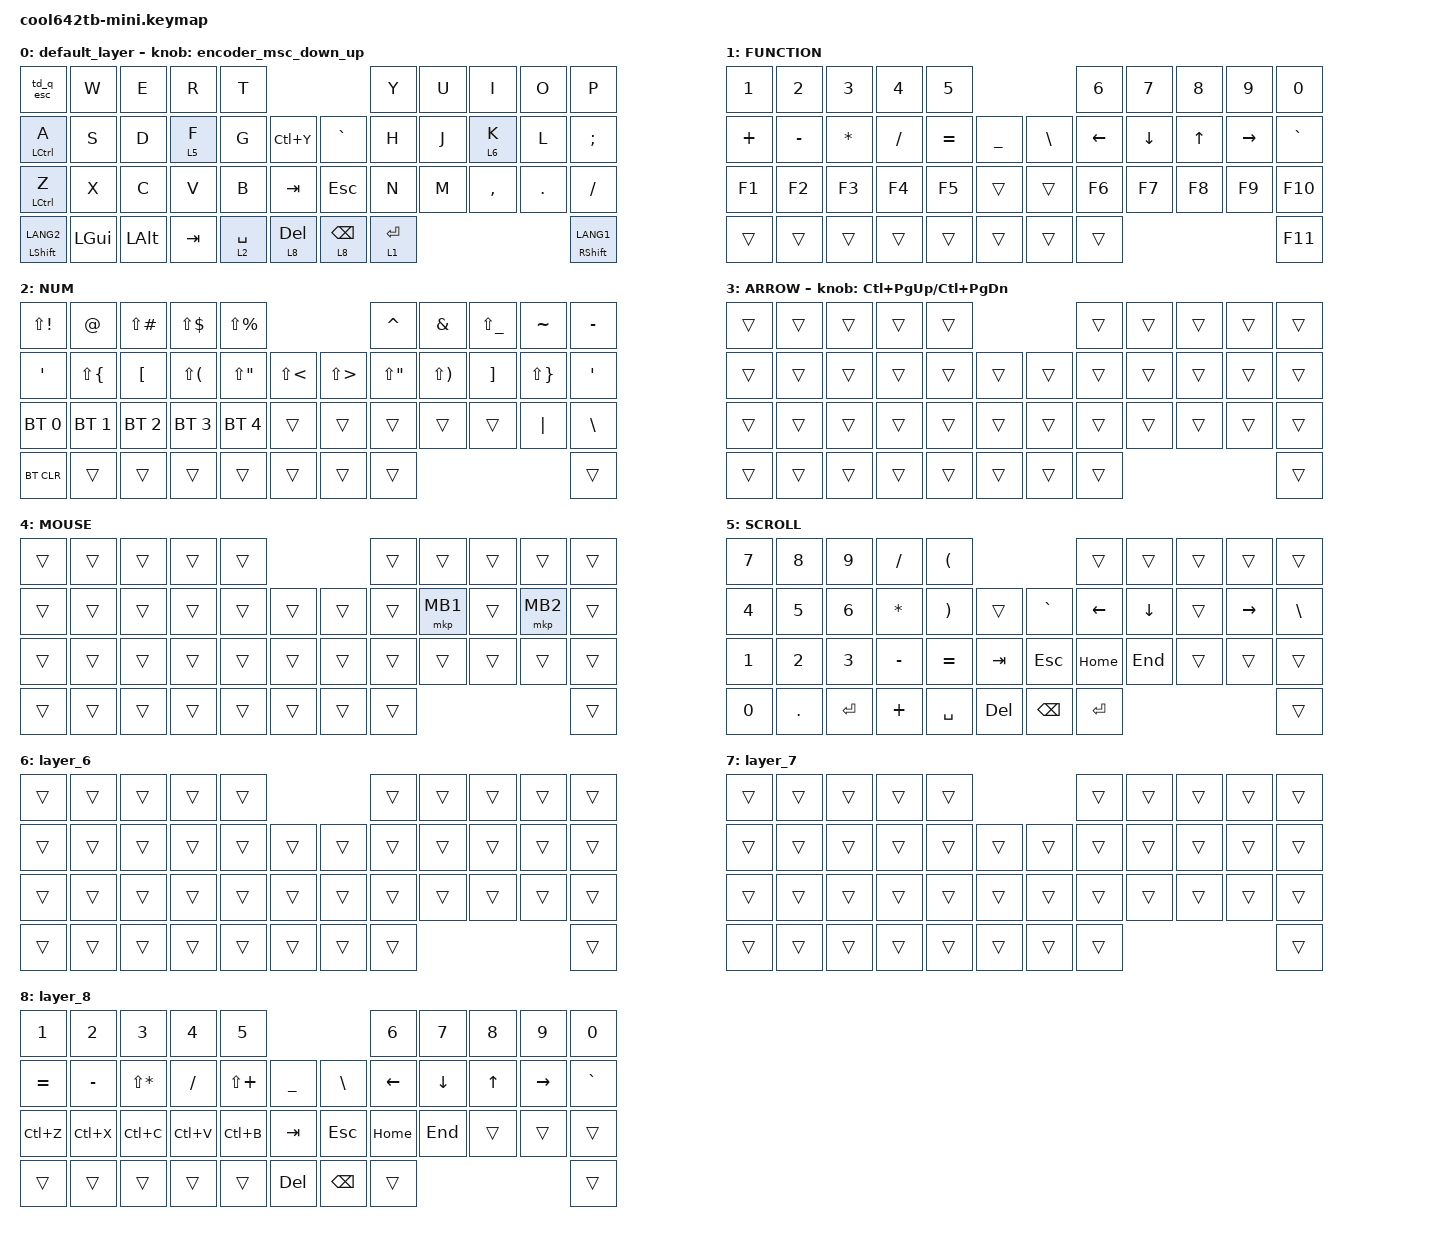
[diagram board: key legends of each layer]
#include <behaviors.dtsi>
#include <dt-bindings/zmk/bt.h>
#include <dt-bindings/zmk/keys.h>
#include <dt-bindings/zmk/pointing.h>

#define MOUSE 4
#define SCROLL 5
#define NUM 6
#define ZMK_POINTING_DEFAULT_SCRL_VAL 80

&mt {
    flavor = "balanced";
    quick-tap-ms = <0>;
};

/ {
    combos { compatible = "zmk,combos"; };

    behaviors {
        encoder_msc_down_up: encoder_msc_down_up {
            compatible = "zmk,behavior-sensor-rotate";
            label = "ENCODER_MSC_DOWN_UP";
            #sensor-binding-cells = <0>;
            bindings = <&msc SCRL_UP>, <&msc SCRL_DOWN>;

            tap-ms = <20>;
        };

        td_q_esc: td_q_esc {
            compatible = "zmk,behavior-tap-dance";
            label = "TD_Q_ESC";
            #binding-cells = <0>;
            bindings = <&kp Q>, <&kp ESC>;
        };
    };

    keymap {
        compatible = "zmk,keymap";

        default_layer {
            bindings = <
&td_q_esc             &kp W         &kp E         &kp R    &kp T                                           &kp Y        &kp U  &kp I      &kp O    &kp P
&mt LCTRL A           &kp S         &kp D         &lt 5 F  &kp G        &kp LC(Y)         &kp GRAVE        &kp H        &kp J  &lt 6 K    &kp L    &kp SEMICOLON
&mt LEFT_CONTROL Z    &kp X         &kp C         &kp V    &kp B        &kp TAB           &kp ESC          &kp N        &kp M  &kp COMMA  &kp DOT  &kp SLASH
&mt LEFT_SHIFT LANG2  &kp LEFT_GUI  &kp LEFT_ALT  &kp TAB  &lt 2 SPACE  &lt 8 DELETE      &lt 8 BACKSPACE  &lt 1 ENTER                             &mt RIGHT_SHIFT LANG1
            >;

            sensor-bindings = <&encoder_msc_down_up>;
        };

        FUNCTION {
            bindings = <
&kp N1    &kp N2     &kp N3     &kp N4     &kp N5                                   &kp N6          &kp N7          &kp N8  &kp N9           &kp N0
&kp PLUS  &kp MINUS  &kp ASTRK  &kp SLASH  &kp EQUAL  &kp UNDER      &kp BACKSLASH  &kp LEFT_ARROW  &kp DOWN_ARROW  &kp UP  &kp RIGHT_ARROW  &kp GRAVE
&kp F1    &kp F2     &kp F3     &kp F4     &kp F5     &trans         &trans         &kp F6          &kp F7          &kp F8  &kp F9           &kp F10
&trans    &trans     &trans     &trans     &trans     &trans         &trans         &trans                                                   &kp F11
            >;
        };

        NUM {
            bindings = <
&kp LS(EXCL)  &kp AT        &kp LS(POUND)  &kp LS(DLLR)  &kp LS(PRCNT)                              &kp CARET    &kp AMPERSAND  &kp LS(UNDER)  &kp TILDE     &kp MINUS
&kp SQT       &kp LS(LBRC)  &kp LBKT       &kp LS(LPAR)  &kp LS(DQT)    &kp LS(LT)      &kp LS(GT)  &kp LS(DQT)  &kp LS(RPAR)   &kp RBKT       &kp LS(RBRC)  &kp SQT
&bt BT_SEL 0  &bt BT_SEL 1  &bt BT_SEL 2   &bt BT_SEL 3  &bt BT_SEL 4   &trans          &trans      &trans       &trans         &trans         &kp PIPE      &kp BACKSLASH
&bt BT_CLR    &trans        &trans         &trans        &trans         &trans          &trans      &trans                                                   &trans
            >;
        };

        ARROW {
            bindings = <
&trans  &trans  &trans  &trans  &trans                      &trans  &trans  &trans  &trans  &trans
&trans  &trans  &trans  &trans  &trans  &trans      &trans  &trans  &trans  &trans  &trans  &trans
&trans  &trans  &trans  &trans  &trans  &trans      &trans  &trans  &trans  &trans  &trans  &trans
&trans  &trans  &trans  &trans  &trans  &trans      &trans  &trans                          &trans
            >;

            sensor-bindings = <&inc_dec_kp LC(PAGE_UP) LC(PAGE_DOWN)>;
        };

        MOUSE {
            bindings = <
&trans  &trans  &trans  &trans  &trans                      &trans  &trans    &trans  &trans    &trans
&trans  &trans  &trans  &trans  &trans  &trans      &trans  &trans  &mkp MB1  &trans  &mkp MB2  &trans
&trans  &trans  &trans  &trans  &trans  &trans      &trans  &trans  &trans    &trans  &trans    &trans
&trans  &trans  &trans  &trans  &trans  &trans      &trans  &trans                              &trans
            >;
        };

        SCROLL {
            bindings = <
&kp N7  &kp N8      &kp N9     &kp SLASH     &kp LEFT_PARENTHESIS                                  &trans     &trans    &trans  &trans           &trans
&kp N4  &kp N5      &kp N6     &kp ASTERISK  &kp RIGHT_PARENTHESIS  &trans          &kp GRAVE      &kp LEFT   &kp DOWN  &trans  &kp RIGHT_ARROW  &kp BACKSLASH
&kp N1  &kp N2      &kp N3     &kp MINUS     &kp EQUAL              &kp TAB         &kp ESC        &kp HOME   &kp END   &trans  &trans           &trans
&kp N0  &kp PERIOD  &kp ENTER  &kp PLUS      &kp SPACE              &kp DELETE      &kp BACKSPACE  &kp ENTER                                     &trans
            >;
        };

        layer_6 {
            bindings = <
&trans  &trans  &trans  &trans  &trans                      &trans  &trans  &trans  &trans  &trans
&trans  &trans  &trans  &trans  &trans  &trans      &trans  &trans  &trans  &trans  &trans  &trans
&trans  &trans  &trans  &trans  &trans  &trans      &trans  &trans  &trans  &trans  &trans  &trans
&trans  &trans  &trans  &trans  &trans  &trans      &trans  &trans                          &trans
            >;
        };

        layer_7 {
            bindings = <
&trans  &trans  &trans  &trans  &trans                      &trans  &trans  &trans  &trans  &trans
&trans  &trans  &trans  &trans  &trans  &trans      &trans  &trans  &trans  &trans  &trans  &trans
&trans  &trans  &trans  &trans  &trans  &trans      &trans  &trans  &trans  &trans  &trans  &trans
&trans  &trans  &trans  &trans  &trans  &trans      &trans  &trans                          &trans
            >;
        };

        layer_8 {
            bindings = <
&kp N1     &kp N2     &kp N3        &kp N4     &kp N5                                           &kp N6    &kp N7    &kp N8  &kp N9     &kp N0
&kp EQUAL  &kp MINUS  &kp LS(STAR)  &kp FSLH   &kp LS(PLUS)  &kp UNDERSCORE      &kp BACKSLASH  &kp LEFT  &kp DOWN  &kp UP  &kp RIGHT  &kp GRAVE
&kp LC(Z)  &kp LC(X)  &kp LC(C)     &kp LC(V)  &kp LC(B)     &kp TAB             &kp ESC        &kp HOME  &kp END   &trans  &trans     &trans
&trans     &trans     &trans        &trans     &trans        &kp DELETE          &kp BACKSPACE  &trans                                 &trans
            >;
        };
    };
};
